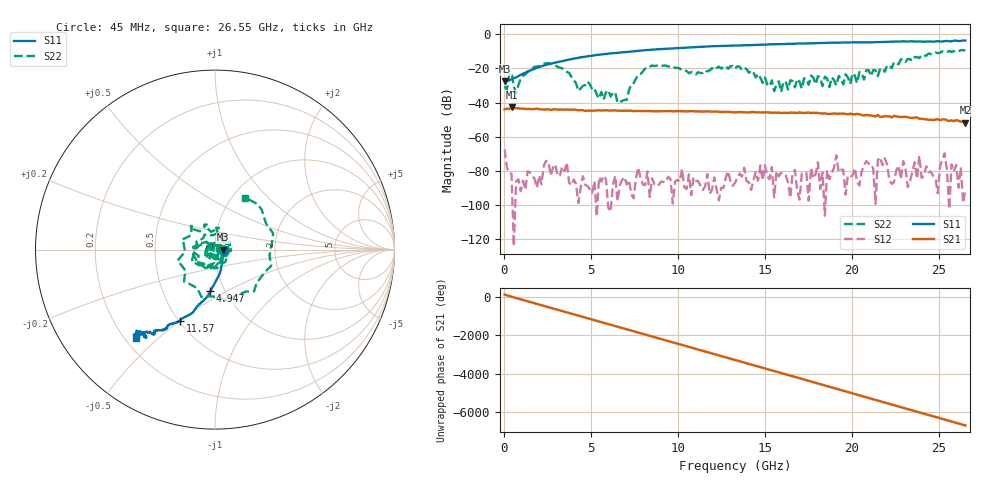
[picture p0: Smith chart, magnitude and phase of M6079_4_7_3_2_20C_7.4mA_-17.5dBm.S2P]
!  2-Port S-parameters saved by WinCal
! VAR MeasName=S-Parameters (CALIBRATED_DATA) read from VNA (C)
! VAR MeasDate=10/5/2015 5:00:14 PM
! VAR NAME=M6079_4_7_3_2_20C_7.4mA_-17.5dBm
! VAR FILENAME=M6079_4_7_3_2_20C_7.4mA_-17.5dBm.S2P
! VAR DATE=10/5/2015 5:00:14 PM
! VAR PHYS_PORTS=2,1
! VAR ObjTypeName=DATASET
! VAR IndexType=Frequency
# Hz S RI R 50
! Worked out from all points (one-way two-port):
!   201 points, 45 MHz to 26.55 GHz, reference 50 ohm
!   highest |S21| = -42.73 dB at 442.5 MHz (marker M1); lowest = -51.8 dB at 26.55 GHz (marker M2)
!   lowest |S11| = -27.5 dB at 45 MHz (marker M3), VSWR 1.09, Z = 54.4 - j0.037 ohm
!   |S11| at or under -10 dB: start of sweep to 7.36 GHz
!   |S22| runs from -40.1 to -9.2 dB; largest |S21 - S12| = 0.0072
!   S11 on the Smith chart (normalised r, x): 45 MHz: 1.09, -0.00; 4.947 GHz: 0.85, -0.42; 11.57 GHz: 0.51, -0.50; 26.55 GHz: 0.24, -0.42
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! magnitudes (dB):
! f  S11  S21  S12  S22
! 45 MHz  -27.5  -43.9  -67.5  -30.4
! 442.5 MHz  -26.4  -42.7  -81.9  -22.4
! 707.5 MHz  -25.2  -43.2  -86.3  -34.6
! 2.43 GHz  -17.9  -44.0  -74.2  -16.9
! 4.55 GHz  -13.3  -44.5  -83.2  -30.2
! 4.947 GHz  -12.6  -44.7  -91.1  -29.3
! 6.67 GHz  -10.7  -44.8  -88.5  -39.9
! 8.922 GHz  -8.7  -45.0  -88.1  -18.0
! 11.57 GHz  -7.1  -45.2  -89.3  -21.1
! 13.29 GHz  -6.5  -45.7  -87.1  -20.0
! 15.55 GHz  -5.8  -45.9  -95.6  -33.3
! 17.8 GHz  -5.2  -46.0  -84.4  -25.5
! 19.12 GHz  -4.9  -46.5  -70.9  -29.9
! 19.26 GHz  -4.8  -46.6  -80.8  -24.4
! 21.64 GHz  -4.5  -48.3  -72.0  -20.0
! 22.17 GHz  -4.3  -48.0  -85.5  -18.3
! 23.76 GHz  -4.2  -48.7  -84.7  -13.3
! 23.89 GHz  -4.1  -49.4  -71.2  -13.9
! 24.95 GHz  -4.0  -49.7  -93.2  -11.0
! 25.35 GHz  -4.0  -49.8  -69.8  -10.5
! 25.48 GHz  -3.8  -50.4  -79.6  -10.3
! 26.55 GHz  -3.6  -51.8  -91.2  -9.5
